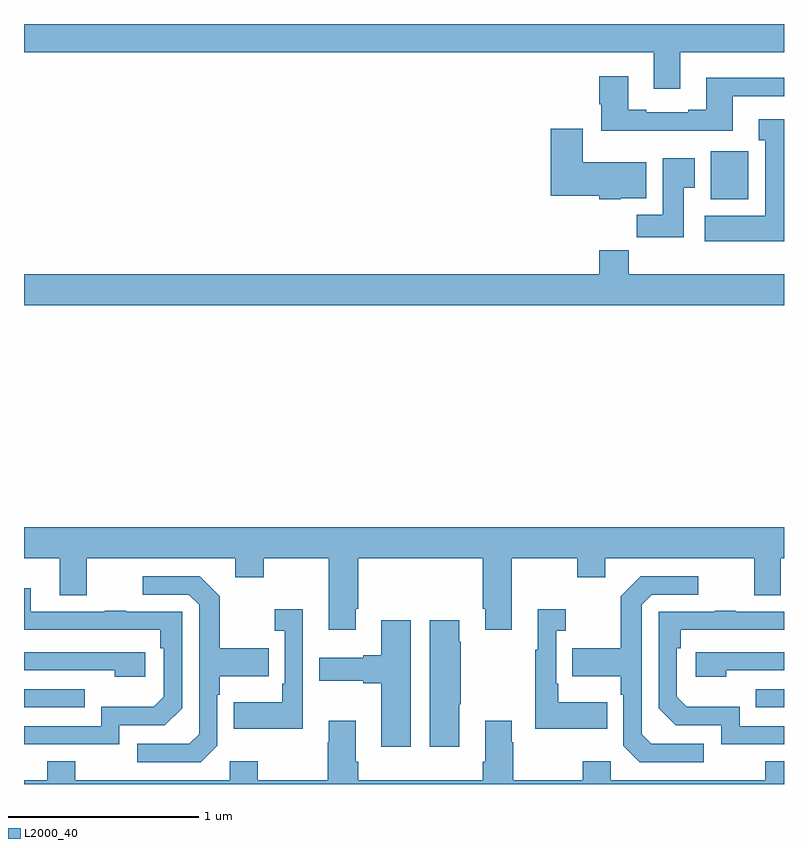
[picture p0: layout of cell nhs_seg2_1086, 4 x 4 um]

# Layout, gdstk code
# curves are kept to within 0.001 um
import gdstk
lib = gdstk.Library(unit=1e-6, precision=1e-09)
def R(c, l, rs):  # rectangles x0, y0, x1, y1
    for r in rs: c.add(gdstk.rectangle(r[:2], r[2:], *l))
def P(c, l, *ps):  # polygons
    for p in ps: c.add(gdstk.Polygon(p, *l))
L2000_40 = (2000, 40)

nhs_seg2_1086 = lib.new_cell('nhs_seg2_1086')
R(nhs_seg2_1086, L2000_40, [(167,628.203,167.321,628.299), (170.851,628.203,171,628.299), (170.615,630.878,170.811,631.129)])
P(nhs_seg2_1086, L2000_40, [(167,631.652),(170.315,631.652),(170.315,631.458),(170.455,631.458),(170.455,631.652),(171,631.652),(171,631.8),(167,631.8)],
  [(170.731,631.419),(171,631.419),(171,631.516),(170.591,631.516),(170.591,631.348),(170.495,631.348),(170.495,631.335),(170.275,631.335),(170.275,631.348),(170.179,631.348),(170.179,631.525),(170.027,631.525),(170.027,631.377),(170.039,631.377),(170.039,631.238),(170.731,631.238)],
  [(171,631.3),(170.867,631.3),(170.867,631.187),(170.9,631.187),(170.9,630.79),(170.583,630.79),(170.583,630.656),(171,630.656)],
  [(170.142,630.884),(170.275,630.884),(170.275,631.072),(169.942,631.072),(169.942,631.249),(169.772,631.249),(169.772,630.896),(170.028,630.896),(170.028,630.878),(170.142,630.878)],
  [(170.473,630.937),(170.53,630.937),(170.53,631.093),(170.363,631.093),(170.363,630.796),(170.224,630.796),(170.224,630.678),(170.473,630.678)],
  [(171,630.484),(170.183,630.484),(170.183,630.608),(170.027,630.608),(170.027,630.484),(167,630.484),(167,630.32),(171,630.32)],
  [(168.745,628.723),(168.758,628.723),(168.758,628.988),(169.415,628.988),(169.415,628.723),(169.427,628.723),(169.427,628.611),(169.567,628.611),(169.567,628.988),(169.912,628.988),(169.912,628.889),(170.059,628.889),(170.059,628.988),(170.843,628.988),(170.843,628.794),(170.983,628.794),(170.983,628.988),(171,628.988),(171,629.152),(167,629.152),(167,628.988),(167.189,628.988),(167.189,628.794),(167.329,628.794),(167.329,628.988),(168.113,628.988),(168.113,628.889),(168.261,628.889),(168.261,628.988),(168.605,628.988),(168.605,628.611),(168.745,628.611)],
  [(170.578,628.011),(170.301,628.011),(170.25,628.062),(170.25,628.743),(170.304,628.797),(170.548,628.797),(170.548,628.893),(170.247,628.893),(170.142,628.787),(170.142,628.515),(169.885,628.515),(169.885,628.367),(170.142,628.367),(170.142,628.271),(170.154,628.271),(170.154,628.002),(170.241,627.915),(170.578,627.915)],
  [(168.018,628.002),(168.018,628.271),(168.031,628.271),(168.031,628.367),(168.287,628.367),(168.287,628.515),(168.031,628.515),(168.031,628.787),(167.925,628.893),(167.625,628.893),(167.625,628.797),(167.868,628.797),(167.922,628.743),(167.922,628.062),(167.871,628.011),(167.595,628.011),(167.595,627.915),(167.931,627.915)],
  [(167.502,628.11),(167.742,628.11),(167.832,628.2),(167.832,628.707),(167.537,628.707),(167.537,628.712),(167.425,628.712),(167.425,628.707),(167.035,628.707),(167.035,628.831),(167,628.831),(167,628.612),(167.716,628.611),(167.716,628.514),(167.736,628.514),(167.736,628.26),(167.683,628.207),(167.406,628.207),(167.406,628.104),(167,628.104),(167,628.008),(167.502,628.008)],
  [(168.468,628.72),(168.321,628.72),(168.321,628.607),(168.372,628.607),(168.372,628.327),(168.36,628.327),(168.36,628.231),(168.103,628.231),(168.103,628.091),(168.468,628.091)],
  [(170.069,628.231),(169.813,628.231),(169.813,628.327),(169.8,628.327),(169.8,628.607),(169.852,628.607),(169.852,628.72),(169.703,628.72),(169.703,628.507),(169.692,628.507),(169.692,628.091),(170.069,628.091)],
  [(171,628.104),(170.766,628.104),(170.766,628.207),(170.489,628.207),(170.436,628.26),(170.436,628.514),(170.456,628.514),(170.456,628.611),(171,628.611),(171,628.707),(170.747,628.707),(170.747,628.712),(170.635,628.712),(170.635,628.707),(170.34,628.707),(170.34,628.2),(170.43,628.11),(170.67,628.11),(170.67,628.008),(171,628.008)],
  [(169.036,628.663),(168.881,628.663),(168.881,628.478),(168.785,628.478),(168.785,628.465),(168.555,628.465),(168.555,628.343),(168.785,628.343),(168.785,628.331),(168.881,628.331),(168.881,627.996),(169.036,627.996)],
  [(169.291,628.219),(169.299,628.219),(169.299,628.55),(169.291,628.55),(169.291,628.663),(169.136,628.663),(169.136,627.996),(169.291,627.996)],
  [(167.638,628.494),(167,628.494),(167,628.398),(167.477,628.398),(167.477,628.364),(167.638,628.364)],
  [(170.696,628.398),(171,628.398),(171,628.494),(170.535,628.494),(170.535,628.364),(170.696,628.364)],
  [(171,627.919),(170.902,627.919),(170.902,627.82),(170.088,627.82),(170.088,627.919),(169.942,627.919),(169.942,627.82),(169.575,627.82),(169.575,628.019),(169.567,628.019),(169.567,628.132),(169.427,628.132),(169.427,627.916),(169.415,627.916),(169.415,627.82),(168.758,627.82),(168.758,627.916),(168.745,627.916),(168.745,628.132),(168.605,628.132),(168.605,628.019),(168.598,628.019),(168.598,627.82),(168.231,627.82),(168.231,627.919),(168.084,627.919),(168.084,627.82),(167.271,627.82),(167.271,627.919),(167.123,627.919),(167.123,627.82),(167,627.82),(167,627.8),(171,627.8)])

lib.write_gds('nhs_seg2_1086.gds')
